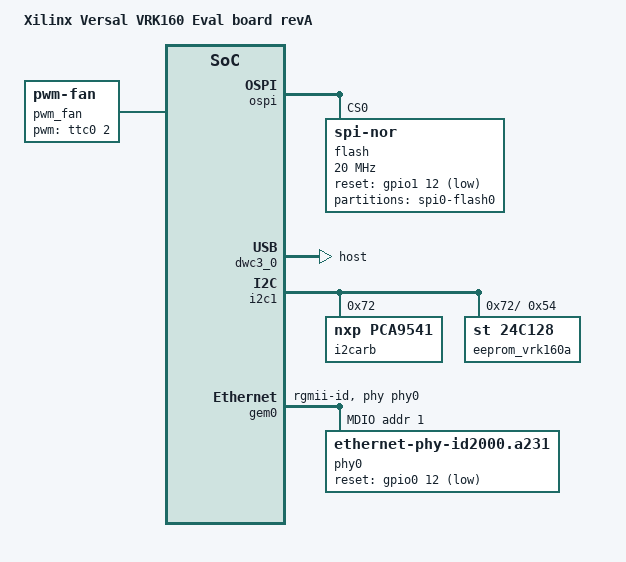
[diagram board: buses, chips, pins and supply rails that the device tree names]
// SPDX-License-Identifier: GPL-2.0
/*
 * dts file for Xilinx Versal VRK160 revA
 *
 * (C) Copyright 2025, Advanced Micro Devices, Inc
 *
 * Michal Simek <michal.simek@amd.com>
 */

#include "include/dt-bindings/net/ti-dp83867.h"
#include "include/dt-bindings/gpio/gpio.h"

/ {
	compatible = "xlnx,versal-vrk160-revA", "xlnx,versal-vrk160",
		     "xlnx,versal";
	model = "Xilinx Versal VRK160 Eval board revA";

	aliases {
		serial0 = &serial0;
		serial2 = &dcc;
		i2c0 = &i2c0;
		i2c1 = &i2c1;
		mmc0 = &sdhci1;
		spi0 = &ospi;
		usb0 = &usb0;
		rtc0 = &rtc;
		nvmem0 = &eeprom;
	};

	pwm_fan: pwm-fan {
		compatible = "pwm-fan";
		pwms = <&ttc0 2 40000 1>; /* not sure about polarity here */
	};
};

/* SD_BUSPWR - PMC MIO51 */
/* SYSTEM_PD - PMC MIO50 */
/* PL_PD - PMC MIO49 */
/* AIE_PD - PMC MIO48 */
/* FPD_PD - PMC MIO11 */
/* I2C SYSMON - LPD MIO18 - 20 */

&ospi { /* PMC MIO0-10, 12, u82 MT35XU02G */
	bus-num = <2>;
	num-cs = <1>;
	#stream-id-cells = <1>;
	#address-cells = <1>;
	#size-cells = <0>;

	flash@0 {
		compatible = "jedec,spi-nor";
		reg = <0>;
		#address-cells = <1>;
		#size-cells = <1>;
		cdns,read-delay = <0>;
		cdns,tshsl-ns = <0>;
		cdns,tsd2d-ns = <0>;
		cdns,tchsh-ns = <1>;
		cdns,tslch-ns = <1>;
		spi-tx-bus-width = <8>;
		spi-rx-bus-width = <8>;
		spi-max-frequency = <20000000>;
		no-wp;
		reset-gpios = <&gpio1 12 GPIO_ACTIVE_LOW>;
		partitions {
			compatible = "fixed-partitions";
			#address-cells = <1>;
			#size-cells = <1>;

			partition@0 {
				label = "spi0-flash0";
				reg = <0 0x10000000>;
			};
		};
	};
};


&dwc3_0 { /* USB 2.0 host */
	dr_mode = "host";
	maximum-speed = "high-speed";
	snps,dis_u2_susphy_quirk;
	snps,dis_u3_susphy_quirk;
	snps,usb3_lpm_capable;
};

&sdhci1 { /* PMC_MIO26-36/51 */
	xlnx,mio-bank = <1>;
	no-1-8-v;
};

&i2c1 { /* PMC_MIO44/45 */
	bootph-all;

	i2carb: i2c-arbitrator@72 { /* u18 */
		compatible = "nxp,pca9541";
		reg = <0x72>;

		i2carb1: i2c-arb {
			#address-cells = <1>;
			#size-cells = <0>;

			/* Use for storing information about board */
			eeprom: eeprom@54 { /* u21 - m24128 16kB */
				compatible = "st,24c128", "atmel,24c128";
				label = "eeprom_vrk160a";
				reg = <0x54>; /* & 0x5c */
			};
		};
	};
};


&ttc0 { /* LPD_MIO23 FAN_PWM */
        #pwm-cells = <3>;
};

&gem0 { /* PMC_MIO_48, LPD_MIO0-11/24/25 */
	phy-handle = <&phy0>;
	phy-mode = "rgmii-id";
	mdio: mdio {
		#address-cells = <1>;
		#size-cells = <0>;
		phy0: ethernet-phy@1 { /* u201 */
			#phy-cells = <1>;
			compatible = "ethernet-phy-id2000.a231";
			reg = <1>;
			ti,rx-internal-delay = <DP83867_RGMIIDCTL_3_00_NS>;
			ti,tx-internal-delay = <DP83867_RGMIIDCTL_2_75_NS>;
			ti,fifo-depth = <1>;
			ti,dp83867-rxctrl-strap-quirk;
			reset-assert-us = <100>;
			reset-deassert-us = <280>;
			reset-gpios = <&gpio0 12 GPIO_ACTIVE_LOW>;
		};
	};
};
